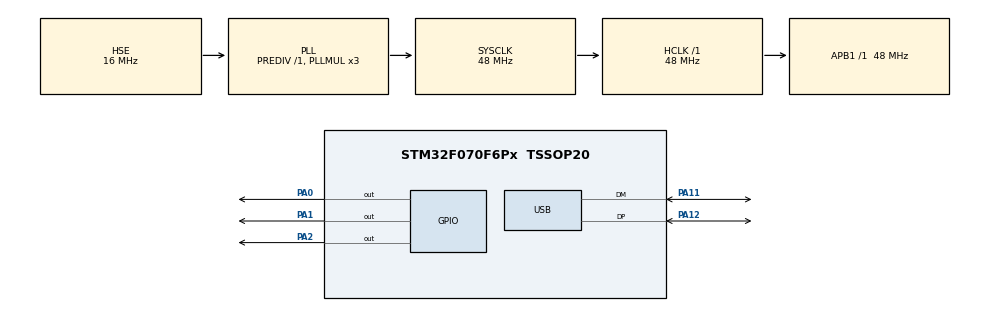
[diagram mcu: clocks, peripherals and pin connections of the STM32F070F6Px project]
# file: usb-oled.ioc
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Mcu.Family=STM32F0
Mcu.Name=STM32F070F6Px
Mcu.Package=TSSOP20
NVIC.USB_IRQn=true\:0\:0\:false\:false\:true\:false
PA0.Signal=GPIO_Output
PA1.Signal=GPIO_Output
PA11.Mode=Device
PA11.Signal=USB_DM
PA12.Mode=Device
PA12.Signal=USB_DP
PA13.Mode=Serial_Wire
PA13.Signal=SYS_SWDIO
PA14.Mode=Serial_Wire
PA14.Signal=SYS_SWCLK
PA2.Signal=GPIO_Output
PF0-OSC_IN.Mode=HSE-External-Oscillator
PF0-OSC_IN.Signal=RCC_OSC_IN
PF1-OSC_OUT.Mode=HSE-External-Oscillator
PF1-OSC_OUT.Signal=RCC_OSC_OUT
ProjectManager.HeapSize=0x400
ProjectManager.StackSize=0x400
ProjectManager.TargetToolchain=MDK-ARM V5
RCC.AHBFreq_Value=48000000
RCC.APB1Freq_Value=48000000
RCC.APB1TimFreq_Value=48000000
RCC.HCLKFreq_Value=48000000
RCC.HSE_VALUE=16000000
RCC.PLLMUL=RCC_PLL_MUL3
RCC.SYSCLKFreq_VALUE=48000000
RCC.SYSCLKSource=RCC_SYSCLKSOURCE_PLLCLK
USB_DEVICE.CLASS_NAME_FS=CUSTOMHID
USB_DEVICE.VirtualMode=CustomHid
USB_DEVICE.VirtualModeFS=Custom_Hid_FS
VP_SYS_VS_PINREMAP.Mode=PINREMAP
VP_USB_DEVICE_VS_USB_DEVICE_CUSTOM_HID_FS.Mode=CUSTOM_HID_FS
board=usb-oled

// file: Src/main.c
/**
  ******************************************************************************
  * @file           : main.c
  * @brief          : Main program body
  ******************************************************************************
  * This notice applies to any and all portions of this file
  * that are not between comment pairs USER CODE BEGIN and
  * USER CODE END. Other portions of this file, whether
  * inserted by the user or by software development tools
  * are owned by their respective copyright owners.
  *
  * Copyright (c) 2018 STMicroelectronics International N.V.
  * All rights reserved.
  *
  * Redistribution and use in source and binary forms, with or without
  * modification, are permitted, provided that the following conditions are met:
  *
  * 1. Redistribution of source code must retain the above copyright notice,
  *    this list of conditions and the following disclaimer.
  * 2. Redistributions in binary form must reproduce the above copyright notice,
  *    this list of conditions and the following disclaimer in the documentation
  *    and/or other materials provided with the distribution.
  * 3. Neither the name of STMicroelectronics nor the names of other
  *    contributors to this software may be used to endorse or promote products
  *    derived from this software without specific written permission.
  * 4. This software, including modifications and/or derivative works of this
  *    software, must execute solely and exclusively on microcontroller or
  *    microprocessor devices manufactured by or for STMicroelectronics.
  * 5. Redistribution and use of this software other than as permitted under
  *    this license is void and will automatically terminate your rights under
  *    this license.
  *
  * THIS SOFTWARE IS PROVIDED BY STMICROELECTRONICS AND CONTRIBUTORS "AS IS"
  * AND ANY EXPRESS, IMPLIED OR STATUTORY WARRANTIES, INCLUDING, BUT NOT
  * LIMITED TO, THE IMPLIED WARRANTIES OF MERCHANTABILITY, FITNESS FOR A
  * PARTICULAR PURPOSE AND NON-INFRINGEMENT OF THIRD PARTY INTELLECTUAL PROPERTY
  * RIGHTS ARE DISCLAIMED TO THE FULLEST EXTENT PERMITTED BY LAW. IN NO EVENT
  * SHALL STMICROELECTRONICS OR CONTRIBUTORS BE LIABLE FOR ANY DIRECT, INDIRECT,
  * INCIDENTAL, SPECIAL, EXEMPLARY, OR CONSEQUENTIAL DAMAGES (INCLUDING, BUT NOT
  * LIMITED TO, PROCUREMENT OF SUBSTITUTE GOODS OR SERVICES; LOSS OF USE, DATA,
  * OR PROFITS; OR BUSINESS INTERRUPTION) HOWEVER CAUSED AND ON ANY THEORY OF
  * LIABILITY, WHETHER IN CONTRACT, STRICT LIABILITY, OR TORT (INCLUDING
  * NEGLIGENCE OR OTHERWISE) ARISING IN ANY WAY OUT OF THE USE OF THIS SOFTWARE,
  * EVEN IF ADVISED OF THE POSSIBILITY OF SUCH DAMAGE.
  *
  ******************************************************************************
  */
#include "main.h"
#include "stm32f0xx_hal.h"
#include "usb_device.h"

/* USER CODE BEGIN Includes */
#include "gpio-i2c.h"
#include "ssd1316.h"
#include "Adafruit_GFX.h"
#include <stdio.h>
#include "usbd_customhid.h"
/* USER CODE END Includes */

/* USER CODE BEGIN PV */
/* Private variables ---------------------------------------------------------*/

/* USER CODE END PV */

void SystemClock_Config(void);
static void MX_GPIO_Init(void);

/* USER CODE BEGIN PFP */
/* Private function prototypes -----------------------------------------------*/

/* USER CODE END PFP */

int main(void)
{

  /* MCU Configuration----------------------------------------------------------*/

  /* Reset of all peripherals, Initializes the Flash interface and the Systick. */
  HAL_Init();

  /* Configure the system clock */
  SystemClock_Config();

  /* Initialize all configured peripherals */
  MX_GPIO_Init();
  MX_USB_DEVICE_Init();
  /* USER CODE BEGIN 2 */
	I2C_GPIO_Config();
	SSD1316_Init();
	Adafruit_GFX_init(128,32,SSD1316_drawPixel);
  /* USER CODE END 2 */

  /* Infinite loop */
  /* USER CODE BEGIN WHILE */
	//uint8_t buf[2];
	//HAL_Delay(200);
	//USBD_CUSTOM_HID_SendReport(&hUsbDeviceFS,buf,2);
	printf("\n--Usb Monitor Demo--\n");
	SSD1316_Refresh();
  while (1)
  {

		HAL_Delay(1000);
		SSD1316_screen_save(1);
  /* USER CODE END WHILE */

  }

}

void SystemClock_Config(void)
{

  RCC_OscInitTypeDef RCC_OscInitStruct;
  RCC_ClkInitTypeDef RCC_ClkInitStruct;
  RCC_PeriphCLKInitTypeDef PeriphClkInit;

    /**Initializes the CPU, AHB and APB busses clocks
    */
  RCC_OscInitStruct.OscillatorType = RCC_OSCILLATORTYPE_HSE;
  RCC_OscInitStruct.HSEState = RCC_HSE_ON;
  RCC_OscInitStruct.PLL.PLLState = RCC_PLL_ON;
  RCC_OscInitStruct.PLL.PLLSource = RCC_PLLSOURCE_HSE;
  RCC_OscInitStruct.PLL.PLLMUL = RCC_PLL_MUL3;
  RCC_OscInitStruct.PLL.PREDIV = RCC_PREDIV_DIV1;
  if (HAL_RCC_OscConfig(&RCC_OscInitStruct) != HAL_OK)
  {
    _Error_Handler(__FILE__, __LINE__);
  }

    /**Initializes the CPU, AHB and APB busses clocks
    */
  RCC_ClkInitStruct.ClockType = RCC_CLOCKTYPE_HCLK|RCC_CLOCKTYPE_SYSCLK
                              |RCC_CLOCKTYPE_PCLK1;
  RCC_ClkInitStruct.SYSCLKSource = RCC_SYSCLKSOURCE_PLLCLK;
  RCC_ClkInitStruct.AHBCLKDivider = RCC_SYSCLK_DIV1;
  RCC_ClkInitStruct.APB1CLKDivider = RCC_HCLK_DIV1;

  if (HAL_RCC_ClockConfig(&RCC_ClkInitStruct, FLASH_LATENCY_1) != HAL_OK)
  {
    _Error_Handler(__FILE__, __LINE__);
  }

  PeriphClkInit.PeriphClockSelection = RCC_PERIPHCLK_USB;
  PeriphClkInit.UsbClockSelection = RCC_USBCLKSOURCE_PLL;

  if (HAL_RCCEx_PeriphCLKConfig(&PeriphClkInit) != HAL_OK)
  {
    _Error_Handler(__FILE__, __LINE__);
  }

    /**Configure the Systick interrupt time
    */
  HAL_SYSTICK_Config(HAL_RCC_GetHCLKFreq()/1000);

    /**Configure the Systick
    */
  HAL_SYSTICK_CLKSourceConfig(SYSTICK_CLKSOURCE_HCLK);

  /* SysTick_IRQn interrupt configuration */
  HAL_NVIC_SetPriority(SysTick_IRQn, 0, 0);
}

/** Configure pins as
        * Analog
        * Input
        * Output
        * EVENT_OUT
        * EXTI
*/
static void MX_GPIO_Init(void)
{

  GPIO_InitTypeDef GPIO_InitStruct;

  /* GPIO Ports Clock Enable */
  __HAL_RCC_GPIOF_CLK_ENABLE();
  __HAL_RCC_GPIOA_CLK_ENABLE();

  /*Configure GPIO pin Output Level */
  HAL_GPIO_WritePin(GPIOA, GPIO_PIN_0|GPIO_PIN_1|GPIO_PIN_2, GPIO_PIN_RESET);

  /*Configure GPIO pins : PA0 PA1 PA2 */
  GPIO_InitStruct.Pin = GPIO_PIN_0|GPIO_PIN_1|GPIO_PIN_2;
  GPIO_InitStruct.Mode = GPIO_MODE_OUTPUT_PP;
  GPIO_InitStruct.Pull = GPIO_NOPULL;
  GPIO_InitStruct.Speed = GPIO_SPEED_FREQ_LOW;
  HAL_GPIO_Init(GPIOA, &GPIO_InitStruct);

}

/* USER CODE BEGIN 4 */
int fputc(int ch, FILE* stream)
{
	Adafruit_GFX_write(ch);
    return ch;
}

/* USER CODE END 4 */

void _Error_Handler(char *file, int line)
{
  while(1)
  {
  }
}

/************************ (C) COPYRIGHT STMicroelectronics *****END OF FILE****/
